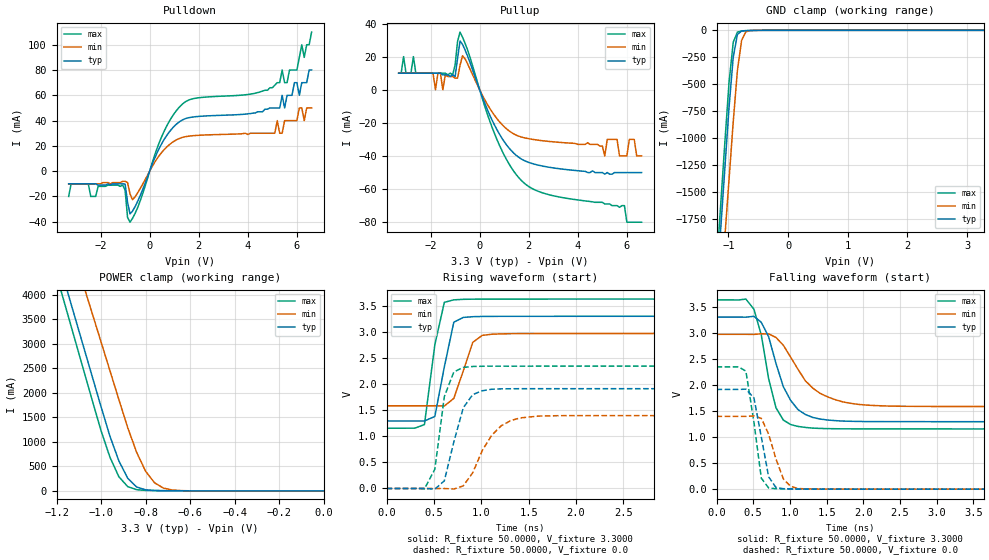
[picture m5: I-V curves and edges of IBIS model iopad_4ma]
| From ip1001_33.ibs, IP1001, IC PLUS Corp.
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|   Model iopad_4ma
[Model]  iopad_4ma
Model_type I/O
Polarity   Non-Inverting
Enable   Active-Low
Vinl =   0.8000V
Vinh =   1.8000V
Vmeas =  1.2500V
C_comp   0.3000pF   0.2400pF   0.3600pF
[Temperature Range]   27.0000   100.0000   0.0
[Voltage Range]   3.3000V   2.9700V   3.6300V
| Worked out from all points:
|   slope of the pulldown table from 0 to 0.495 V, typ, clamps not added: 22.6 ohm
|   slope of the pullup table from 0 to 0.495 V, typ, clamps not added: 27.5 ohm
|   GND clamp passes 1 mA (typ) near -0.63 V on its own axis
|   POWER clamp passes 1 mA (typ) near -0.57 V on its own axis
|   rising waveform, R_fixture 50.0000, V_fixture 3.3000: 20-80 % time 133ps typ, 155ps min, 126ps max; typ from 1.29 V to 3.3 V
|   rising waveform, R_fixture 50.0000, V_fixture 0.0: 20-80 % time 166ps typ, 263ps min, 117ps max; typ from 0 V to 1.91 V
|   falling waveform, R_fixture 50.0000, V_fixture 3.3000: 20-80 % time 299ps typ, 447ps min, 220ps max; typ from 3.3 V to 1.29 V
|   falling waveform, R_fixture 50.0000, V_fixture 0.0: 20-80 % time 152ps typ, 199ps min, 142ps max; typ from 1.91 V to 0 V
[Pulldown]
|Voltage   I(typ)   I(min)   I(max)
-3.3V     -10mA      -10mA      -20mA
-1.1V     -10mA      -8mA       -11mA
-800mV    -33.82mA   -18mA      -40.34mA
1.2V      38.89mA    25.79mA    50.46mA
4.8V      49mA       30mA       64mA
5.2V      50mA       40mA       70mA
5.4V      60mA       30mA       80mA
5.6V      60mA       40mA       70mA
5.9V      70mA       40mA       80mA
6.1V      60mA       50mA       90mA
6.3V      70mA       40mA       90mA
6.6V      80mA       50mA       110mA
[Pullup]
|Voltage   I(typ)   I(min)   I(max)
-3.3V     10mA       10mA       10mA
-2.7V     10mA       10mA       20mA
-2.6V     10mA       10mA       10mA
-1.1V     9mA        8mA        9mA
-800mV    29.44mA    14.7mA     34.82mA
700mV     -24.01mA   -17.37mA   -29.88mA
1.7V      -41.84mA   -28.55mA   -54.8mA
5.1V      -51mA      -40mA      -69mA
5.2V      -50mA      -30mA      -69mA
5.7V      -50mA      -40mA      -71mA
6.3V      -50mA      -30mA      -80mA
6.6V      -50mA      -40mA      -80mA
[GND_clamp]
|Voltage   I(typ)   I(min)   I(max)
-3.3V     -19.41A    -18.96A    -19.6A
-1.2V     -2.411A    -2.98A     -2.198A
-1.13V    -1.844A    -2.447A    -1.618A
-1.06V    -1.278A    -1.914A    -1.038A
-990mV    -713.1mA   -1.382A    -481.3mA
-920mV    -248.8mA   -849.4mA   -111.1mA
-850mV    -39.02mA   -373.5mA   -15.88mA
-780mV    -6.109mA   -94.67mA   -6.703mA
-710mV    -2.353mA   -14.34mA   -4.375mA
-640mV    -1.103mA   -2.066mA   -2.655mA
3.28V     43.51pA    3.97uA     -63.91pA
[POWER_clamp]
|Voltage   I(typ)   I(min)   I(max)
-3.28V    37.2A      36.47A     37.52A
-1.2V     4.828A     5.969A     4.4A
-1.16V    4.205A     5.382A     3.763A
-1.12V    3.582A     4.796A     3.126A
-1.08V    2.96A      4.209A     2.489A
-1.04V    2.337A     3.622A     1.852A
-960mV    1.113A     2.449A     685.8mA
-920mV    611.4mA    1.862A     288.4mA
-840mV    79.46mA    783.6mA    24.69mA
-760mV    7.994mA    166.4mA    7.074mA
-640mV    2.007mA    6.178mA    3.575mA
0V        106.5pA    303.7pA    167.4pA
[Ramp]
| variable   typ   min   max
dV/dt_r  1.1472/0.1657n   0.8376/0.2628n   1.4070/0.1173n
dV/dt_f  1.2036/0.2993n   0.8310/0.4469n   1.4850/0.2202n
R_load = 50.0000
[Rising Waveform]
R_fixture= 50.0000
V_fixture= 3.3000
V_fixture_min= 2.9700
V_fixture_max= 3.6300
|time   V(typ)   V(min)   V(max)
0s        1.294V     1.585V     1.155V
300ps     1.294V     1.585V     1.156V
400ps     1.294V     1.585V     1.225V
510ps     1.38V      1.585V     2.756V
610ps     2.329V     1.58V      3.567V
710ps     3.187V     1.727V     3.615V
910ps     3.292V     2.801V     3.628V
1.01ns    3.297V     2.934V     3.629V
1.11ns    3.298V     2.956V     3.629V
10ns      3.3V       2.97V      3.63V
[Rising Waveform]
R_fixture= 50.0000
V_fixture= 0.0
V_fixture_min= 0.0
V_fixture_max= 0.0
|time   V(typ)   V(min)   V(max)
0s        0V         0V         0V
400ps     1.104mV    -10.78uV   -8.558mV
510ps     -13.35mV   144.8uV    370.2mV
610ps     147.2mV    -722uV     1.761V
710ps     889.4mV    -11.12mV   2.233V
810ps     1.547V     50.51mV    2.32V
910ps     1.8V       302.7mV    2.338V
1.21ns    1.909V     1.201V     2.344V
1.62ns    1.912V     1.389V     2.345V
10ns      1.912V     1.396V     2.345V
[Falling Waveform]
R_fixture= 50.0000
V_fixture= 3.3000
V_fixture_min= 2.9700
V_fixture_max= 3.6300
|time   V(typ)   V(min)   V(max)
0s        3.3V       2.97V      3.63V
400ps     3.299V     2.97V      3.646V
510ps     3.315V     2.968V     3.45V
610ps     3.199V     2.98V      2.956V
710ps     2.922V     2.978V     2.117V
810ps     2.411V     2.909V     1.561V
1.11ns    1.525V     2.298V     1.203V
1.41ns    1.345V     1.838V     1.165V
2.12ns    1.296V     1.606V     1.156V
10ns      1.294V     1.585V     1.155V
[Falling Waveform]
R_fixture= 50.0000
V_fixture= 0.0
V_fixture_min= 0.0
V_fixture_max= 0.0
|time   V(typ)   V(min)   V(max)
0s        1.912V     1.396V     2.345V
300ps     1.912V     1.396V     2.346V
400ps     1.919V     1.396V     2.264V
510ps     1.748V     1.404V     1.281V
610ps     1.002V     1.359V     211.1mV
710ps     236.5mV    1.054V     22.61mV
810ps     31.55mV    579.5mV    7.907mV
910ps     9.249mV    196.4mV    4.375mV
1.11ns    3.192mV    12.16mV    1.396mV
10ns      -2.641uV   0V         2.971uV
